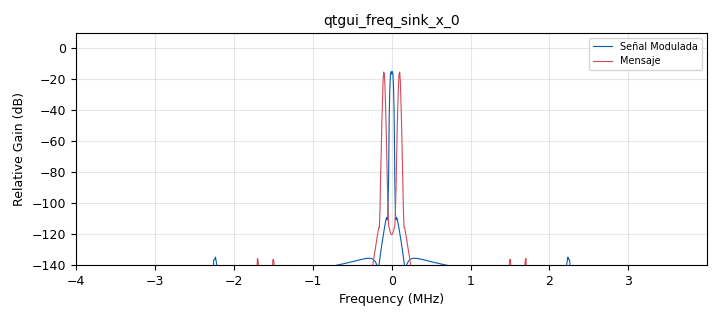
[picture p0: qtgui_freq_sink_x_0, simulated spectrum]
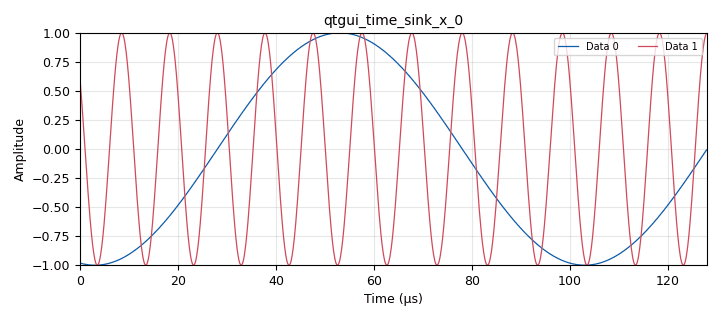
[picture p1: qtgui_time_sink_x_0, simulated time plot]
options:
  parameters:
    generate_options: qt_gui
    id: top_block
    output_language: python
  states: {}

blocks:
- name: deltaF
  id: variable_qtgui_range
  parameters:
    start: '0'
    step: '10'
    stop: '100000'
    value: '3000'
  states: {}
- name: fc
  id: variable_qtgui_range
  parameters:
    start: '0'
    step: '100'
    stop: '1000000'
    value: '100000'
  states: {}
- name: fm
  id: variable_qtgui_range
  parameters:
    start: '0'
    step: '100'
    stop: '100000'
    value: '10000'
  states: {}
- name: freq
  id: variable_qtgui_range
  parameters:
    start: 300e6
    step: 1e6
    stop: 3e9
    value: 300e6
  states: {}
- name: samp_rate
  id: variable
  parameters:
    value: '8000000'
  states: {}
- name: samp_rate_Audio
  id: variable
  parameters:
    value: '8000000'
  states: {}
- name: samp_rate_RF
  id: variable
  parameters:
    value: '8000000'
  states: {}
- name: analog_sig_source_x_0
  id: analog_sig_source_x
  parameters:
    amp: '1'
    freq: fc
    offset: '0'
    phase: '0'
    samp_rate: samp_rate_Audio
    type: float
    waveform: analog.GR_COS_WAVE
  states: {}
- name: analog_sig_source_x_0_0
  id: analog_sig_source_x
  parameters:
    amp: '1'
    freq: fc
    offset: '0'
    phase: '0'
    samp_rate: samp_rate_Audio
    type: float
    waveform: analog.GR_SIN_WAVE
  states: {}
- name: analog_sig_source_x_1_0
  id: analog_sig_source_x
  parameters:
    amp: '1'
    freq: fm
    offset: '0'
    phase: '0'
    samp_rate: samp_rate_Audio
    type: float
    waveform: analog.GR_SIN_WAVE
  states: {}
- name: blocks_float_to_complex_0
  id: blocks_float_to_complex
  parameters: {}
  states: {}
- name: blocks_multiply_const_vxx_0
  id: blocks_multiply_const_vxx
  parameters:
    const: float(float(deltaF)/float(fm))
    type: float
  states: {}
- name: blocks_multiply_xx_0
  id: blocks_multiply_xx
  parameters:
    type: float
  states: {}
- name: blocks_multiply_xx_0_0
  id: blocks_multiply_xx
  parameters:
    type: float
  states: {}
- name: blocks_sub_xx_0
  id: blocks_sub_xx
  parameters:
    type: float
  states: {}
- name: blocks_throttle_0
  id: blocks_throttle
  parameters:
    samples_per_second: samp_rate
    type: float
  states: {}
- name: blocks_throttle_0_0
  id: blocks_throttle
  parameters:
    samples_per_second: samp_rate
    type: float
  states: {}
- name: blocks_throttle_0_0_0
  id: blocks_throttle
  parameters:
    samples_per_second: samp_rate
    type: float
  states: {}
- name: blocks_throttle_0_0_0_0
  id: blocks_throttle
  parameters:
    samples_per_second: samp_rate
    type: float
  states: {}
- name: blocks_throttle_0_1
  id: blocks_throttle
  parameters:
    samples_per_second: samp_rate
    type: float
  states: {}
- name: blocks_transcendental_0
  id: blocks_transcendental
  parameters:
    name: sin
    type: float
  states: {}
- name: blocks_transcendental_0_0
  id: blocks_transcendental
  parameters:
    name: cos
    type: float
  states: {}
- name: osmosdr_sink_0
  id: osmosdr_sink
  parameters:
    args: ''
    bb_gain0: '30'
    freq0: freq
    gain0: '20'
    if_gain0: '30'
    sample_rate: samp_rate
    sync: sync
    type: fc32
  states: {}
- name: qtgui_freq_sink_x_0
  id: qtgui_freq_sink_x
  parameters:
    bw: samp_rate_RF
    ctrlpanel: 'True'
    fc: '0'
    fftsize: '1024'
    gui_hint: tab@1
    label1: Señal Modulada
    label2: Mensaje
    nconnections: '2'
    showports: 'True'
    type: float
  states: {}
- name: qtgui_time_sink_x_0
  id: qtgui_time_sink_x
  parameters:
    ctrlpanel: 'True'
    gui_hint: tab@0
    label1: ''
    label2: ''
    nconnections: '2'
    size: '1024'
    srate: samp_rate_RF
    type: float
  states: {}
- name: tab
  id: qtgui_tab_widget
  parameters:
    label0: Tiempo
    label1: Frecuencia
    num_tabs: '2'
  states: {}

connections:
- [analog_sig_source_x_0, '0', blocks_throttle_0_0, '0']
- [analog_sig_source_x_0_0, '0', blocks_throttle_0_0_0, '0']
- [analog_sig_source_x_1_0, '0', blocks_throttle_0, '0']
- [blocks_float_to_complex_0, '0', osmosdr_sink_0, '0']
- [blocks_multiply_const_vxx_0, '0', blocks_transcendental_0, '0']
- [blocks_multiply_const_vxx_0, '0', blocks_transcendental_0_0, '0']
- [blocks_multiply_xx_0, '0', blocks_sub_xx_0, '1']
- [blocks_multiply_xx_0_0, '0', blocks_sub_xx_0, '0']
- [blocks_sub_xx_0, '0', blocks_float_to_complex_0, '0']
- [blocks_sub_xx_0, '0', qtgui_freq_sink_x_0, '1']
- [blocks_sub_xx_0, '0', qtgui_time_sink_x_0, '1']
- [blocks_throttle_0, '0', blocks_multiply_const_vxx_0, '0']
- [blocks_throttle_0, '0', qtgui_freq_sink_x_0, '0']
- [blocks_throttle_0, '0', qtgui_time_sink_x_0, '0']
- [blocks_throttle_0_0, '0', blocks_multiply_xx_0_0, '0']
- [blocks_throttle_0_0_0, '0', blocks_multiply_xx_0, '0']
- [blocks_throttle_0_0_0_0, '0', blocks_multiply_xx_0, '1']
- [blocks_throttle_0_1, '0', blocks_multiply_xx_0_0, '1']
- [blocks_transcendental_0, '0', blocks_throttle_0_0_0_0, '0']
- [blocks_transcendental_0_0, '0', blocks_throttle_0_1, '0']

metadata:
  file_format: 1
  grc_version: 3.10.12.0
